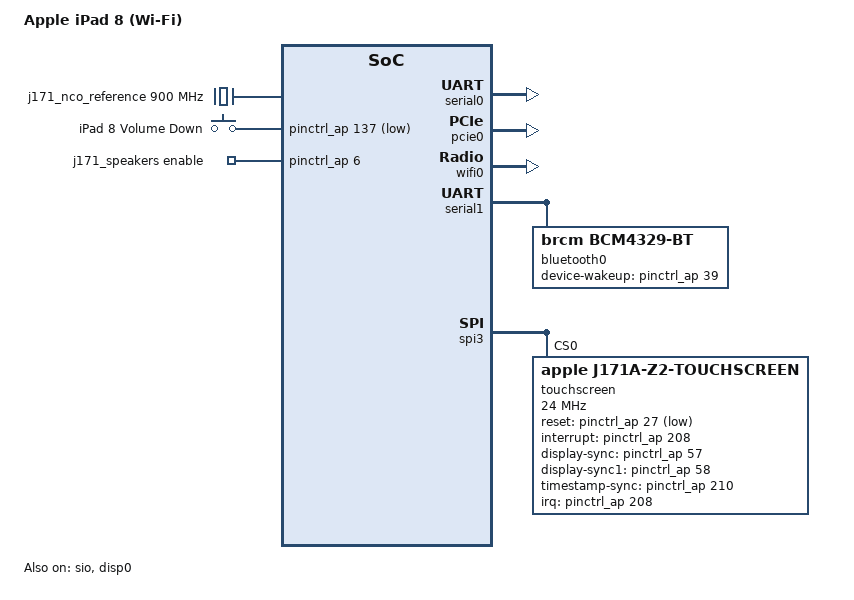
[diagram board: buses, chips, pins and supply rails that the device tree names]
// SPDX-License-Identifier: GPL-2.0+ OR MIT
/* Minimal first-boot description for iPad 8 Wi-Fi (J171aAP, T8020). */
/dts-v1/;
#include "t8020.dtsi"

/ {
	compatible = "apple,j171a", "apple,t8020", "apple,arm-platform";
	model = "Apple iPad 8 (Wi-Fi)";
	chassis-type = "tablet";

	aliases {
		serial0 = &serial0;
		serial1 = &serial1;
		ausbphy0 = &ausbphy0;
		sio = &sio;
		gfxasc = &gfx_asc;
		wifi0 = &wifi0;
		bluetooth0 = &bluetooth0;
	};

	chosen {
		#address-cells = <2>;
		#size-cells = <2>;
		ranges;
		stdout-path = "serial0";
		cascadia,g11-firmware-handoff;
		cascadia,g11-start-driver;
		framebuffer0: framebuffer@0 {
			compatible = "apple,simple-framebuffer", "simple-framebuffer";
			reg = <0 0 0 0>;
			power-domains = <&ps_disp0_be &ps_mipi_dsi
					 &ps_disp0_hilo &ps_disp0_ppp>;
			status = "disabled";
		};
	};

	memory@800000000 {
		device_type = "memory";
		reg = <0x8 0 0 0>;
	};

	reserved-memory {
		#address-cells = <2>;
		#size-cells = <2>;
		ranges;
	};
};

&serial0 { status = "okay"; };

/* 21B91 J171a ADT: /amfm and uart2/wlan both use pKW4(gP13, 0). */
&pcie0 { status = "okay"; };
&port02 {
	pwren-gpios = <&smc_gpio 19 0>;
	max-link-speed = <1>;
	bus-range = <1 1>;
	wifi0: wifi@0,0 {
		compatible = "pci14e4,43dc";
		reg = <0x10000 0 0 0 0>;
		brcm,board-type = "apple,magnoliaa";
		/* Replaced with private per-device data during packaging. */
		local-mac-address = [00 00 00 00 00 00];
	};
};

/*
 * J171a uart1/bluetooth: N88 H4, SMC gP11, BT_WAKE AP GPIO 39.
 * TX30/RTS32 are explicit in the ADT. RX31/CTS33 and peripheral function 1
 * reuse the T8020 UART1 group proven on XR, pending J171 hardware testing.
 * Do not inherit XR's broken-extended-scan quirk without HCI evidence.
 */
&serial1 {
	status = "okay";
	pinctrl-names = "default";
	pinctrl-0 = <&j171_bluetooth_uart1_pins>;
	uart-has-rtscts;
	bluetooth0: bluetooth {
		compatible = "brcm,bcm4329-bt";
		/* MagnoliaA MUR build 1334 advertises, but rejects, opcode 204b. */
		brcm,broken-read-transmit-power;
		/* This controller's default address is not in btbcm's blacklist. */
		brcm,use-bdaddr-property;
		current-speed = <115200>;
		max-speed = <3000000>;
		apple,power-function = <&smc 0x67503131 0>;
		device-wakeup-gpios = <&pinctrl_ap 39 0>;
		local-bd-address = [00 00 00 00 00 00];
	};
};
&i2c2 { status = "disabled"; };
&i2c3 { status = "disabled"; };
&spi1 { status = "disabled"; };

/*
 * Apple 21B91 ADT: /arm-io/spi3/multi-touch, hid-transport,spi.
 * CS=AP GPIO 51, reset=27, interrupt=208 and personality K1F19,9.
 * rLD5 and rLDn are the pKW4 analog/LDO power functions. The remaining
 * panel-specific calibration properties are intentionally skipped until
 * this iPad's live syscfg values are copied into the Linux DTB.
 */
&spi3 {
	/* Separate driver: never replace the XR legacy PIO/PM behaviour. */
	compatible = "apple,j171a-spi";
	dmas = <&sio 0x1a>;
	dma-names = "tx";
	status = "okay";

	touchscreen: touchscreen@0 {
		compatible = "apple,j171a-z2-touchscreen";
		reg = <0>;
		/* K1F19,9 SPI Config: 41 ns period, CPOL=1, CPHA=1. */
		spi-max-frequency = <24000000>;
		spi-cpol;
		spi-cpha;
		/* K1F19,9: CS Preamble=0 ns, CS Postamble=10000 ns. */
		spi-cs-hold-delay-ns = <10000>;
		reset-gpios = <&pinctrl_ap 27 1>;
		interrupts-extended = <&pinctrl_ap 208 IRQ_TYPE_EDGE_FALLING>;
		interrupt-gpios = <&pinctrl_ap 208 0>;
		display-sync-gpios = <&pinctrl_ap 57 0>;
		display-sync1-gpios = <&pinctrl_ap 58 0>;
		timestamp-sync-gpios = <&pinctrl_ap 210 0>;
		pinctrl-names = "display-sync-active";
		pinctrl-0 = <&j171_touch_sync_pins>;
		clocks = <&j171_touch_clk>;
		firmware-name = "apple/j171a-mtfw.bin";
		/* Exact value from K1F19,9 Config/Device Tree Overrides. */
		apple,hbpp-version = <0x104>;
		apple,z2-bpw16-min-len = <17>;
		apple,smc-function = <&smc 0x724c4435 0>;
		apple,smc-function2 = <&smc 0x724c446e 0>;
		touchscreen-size-x = <16200>;
		touchscreen-size-y = <21600>;
	};
};

&pinctrl_ap {
	j171_bluetooth_uart1_pins: j171-bluetooth-uart1-pins {
		pinmux = <APPLE_PINMUX(30, 1)>, <APPLE_PINMUX(31, 1)>,
			 <APPLE_PINMUX(32, 1)>, <APPLE_PINMUX(33, 1)>;
	};
	j171_touch_sync_pins: j171-touch-sync-pins {
		/* 21B91 GPIO function type 3: input enabled, peripheral 2. */
		pinmux = <APPLE_PINMUX(57, 2)>, <APPLE_PINMUX(58, 2)>;
	};
};

&sio_mbox { status = "okay"; };
&sio {
	iommus = <&sio_dart 0>;
	status = "okay";
};

/* J171a ADT dart-sio, mapper phandle 78, stream 0. */
&{/soc} {
	sio_dart: iommu@235004000 {
		compatible = "apple,t8020-dart", "apple,t8103-dart";
		reg = <0x2 0x35004000 0 0x4000>;
		interrupt-parent = <&aic>;
		interrupts = <AIC_IRQ 427 IRQ_TYPE_LEVEL_HIGH>;
		#iommu-cells = <1>;
		power-domains = <&ps_sio_cpu>;
	};
};

/* J171 ADT TCLK [8 us, 100 us, 24 MHz], 21B91 PMGR touch group. */
&pmgr {
	j171_touch_clk: clock-controller@78000 {
		compatible = "apple,t8020-touch-clock";
		reg = <0x78000 4>;
		#clock-cells = <0>;
		clocks = <&clkref>;
		clock-frequency = <24000000>;
		clock-output-names = "j171-touch-ref";
	};
};

/* Firmware ABI is iPadOS 17.1.1/21B91, never the XS 16.6.1 layout. */
&gfx_asc {
    compatible = "cascadia,j171a-agx-21b91";
    status = "disabled"; /* enabled by validated live m1n1 handoff */
};

/* Preserve J171's measured inherited pixel path; never run XS panel setup.
 * The MIPI gate is retained from live PMGR measurements, not an assertion
 * about the panel connector. HILO is a virtual alias; keep its PPP parent.
 */
&disp0 {
	compatible = "cascadia,j171a-display-takeover";
	power-domains = <&ps_disp0_busif>, <&ps_disp0_fe>, <&ps_disp0_be>,
		       <&ps_disp0_gp0>, <&ps_disp0_gp1>, <&ps_disp0_ppp>,
		       <&ps_mipi_dsi>;
	power-domain-names = "busif", "fe", "be", "gp0", "gp1", "ppp", "mipi";
	status = "okay";
};

/* AppleLMBacklight matches pmu,d2652 at SPMI USID15. This is not Summit. */
&{/soc/spmi@23d180700/pmic@f} {
	backlight@1e00 {
		compatible = "cascadia,j171a-pmic-backlight";
		reg = <0x1e00 2>;
		apple,smc = <&smc>;
		status = "okay";
	};
};

/* Shared XS panel/sensor drivers must not claim J171 hardware. */
&dsi { status = "disabled"; };
&tempsensor_pmgr { status = "disabled"; };
&tempsensor_acc { status = "disabled"; };
&tempsensor_acce { status = "disabled"; };

/* Internal speakers and discrete volume-down key; see AUDIO.md. */

/ {
 j171_nco_reference: clock-nco-ref {
  compatible = "fixed-clock";
  #clock-cells = <0>;
  /* Live J171a ADT clock ID0x143, clock-frequencies[0x143-0x100]. */
  clock-frequency = <900000000>;
 };
};
&{/soc} {
 j171_nco: clock-controller@23b044000 {
  compatible = "cascadia,j171a-nco";
  reg = <0x2 0x3b044000 0 0x14000>;
  #clock-cells = <1>;
  clocks = <&j171_nco_reference>;
 };
 j171_speakers: sound@238400800 {
  compatible = "cascadia,j171a-speakers";
  reg = <0x2 0x38400800 0 0x800>, <0x2 0x38308000 0 0x4000>;
  clocks = <&j171_nco 1>;
  enable-gpios = <&pinctrl_ap 6 0>;
  power-domains = <&ps_mca1>;
  dmas = <&sio 0x2c>;
  dma-names = "tx";
  #sound-dai-cells = <0>;
 };
};
&sio {
 power-domains = <&ps_sio_cpu>, <&ps_spi_p>, <&ps_uart_p>, <&ps_audio>;
 power-domain-names = "sio-cpu", "spi-shim", "uart-shim", "audio-shim";
 compatible = "cascadia,j171a-audio-dma", "apple,t8020-sio", "apple,sio";
};

/* J171a ADT /buttons: volume-up is SMC bVUP; volume-down is AP GPIO137.
 * Keep SMC up handling, add only the missing discrete down key.
 * Active-low press/release and Omarchy volume control validated on hardware.
 */
/ {
 j171_volume_keys: j171-volume-keys {
  compatible = "gpio-keys";
  autorepeat;
  volume-down {
   label = "iPad 8 Volume Down";
   linux,code = <114>; /* KEY_VOLUMEDOWN */
   gpios = <&pinctrl_ap 137 1>; /* GPIO_ACTIVE_LOW */
   debounce-interval = <20>;
  };
 };
};
